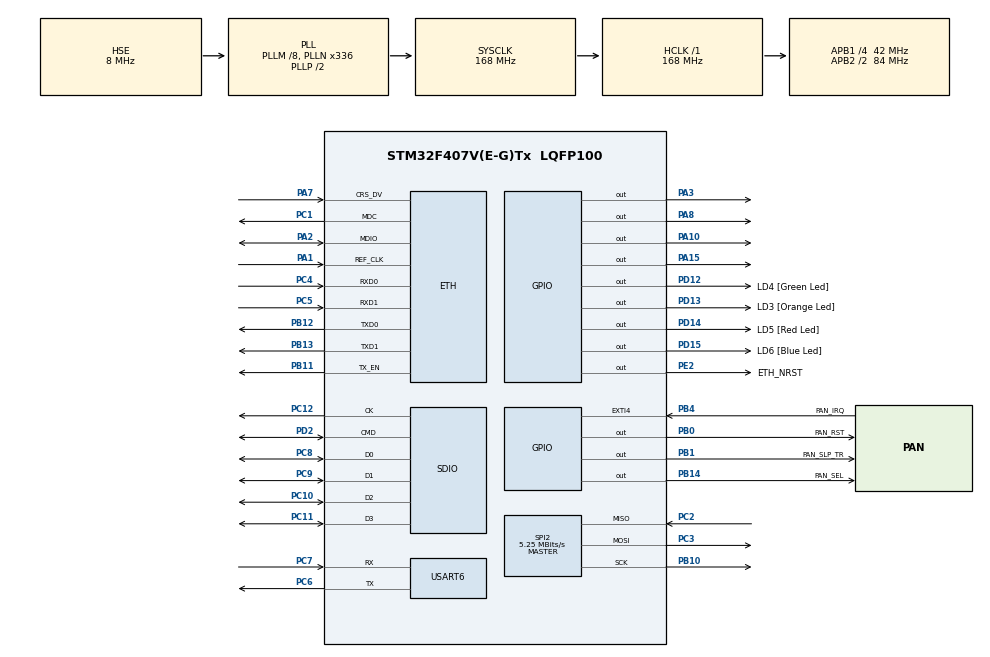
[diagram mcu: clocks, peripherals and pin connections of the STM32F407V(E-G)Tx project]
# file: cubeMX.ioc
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ETH.MediaInterface=ETH_MEDIA_INTERFACE_RMII
ETH.PhyAddress=0
FREERTOS.INCLUDE_pcTaskGetTaskName=1
FREERTOS.INCLUDE_vTaskDelayUntil=1
FREERTOS.INCLUDE_xQueueGetMutexHolder=0
FREERTOS.INCLUDE_xSemaphoreGetMutexHolder=1
FREERTOS.Tasks01=FatLwipInit,3,8192,StartDefaultTask
FREERTOS.configENABLE_BACKWARD_COMPATIBILITY=1
FREERTOS.configMINIMAL_STACK_SIZE=0x100
FREERTOS.configTIMER_TASK_PRIORITY=4
FREERTOS.configTOTAL_HEAP_SIZE=0x8000
FREERTOS.configUSE_APPLICATION_TASK_TAG=1
FREERTOS.configUSE_MALLOC_FAILED_HOOK=1
FREERTOS.configUSE_PREEMPTION=0
FREERTOS.configUSE_TICK_HOOK=1
FREERTOS.configUSE_TIMERS=1
FREERTOS.configUSE_TRACE_FACILITY=0
LWIP.GATEWAY_ADDRESS=192.168.033.001
LWIP.IP_ADDRESS=192.168.033.021
LWIP.LWIP_DHCP=0
LWIP.LWIP_IGMP=1
LWIP.MEM_SIZE=4096
LWIP.NETMASK_ADDRESS=255.255.255.000
LWIP.PBUF_POOL_BUFSIZE=1600
LWIP.SYS_LIGHTWEIGHT_PROT=1
Mcu.Family=STM32F4
Mcu.Name=STM32F407V(E-G)Tx
Mcu.Package=LQFP100
NVIC.ETH_IRQn=true\:5\:0\:false
NVIC.EXTI4_IRQn=true\:5\:0\:false
NVIC.PriorityGroup=NVIC_PRIORITYGROUP_4
PA1.Mode=RMII
PA1.Signal=ETH_REF_CLK
PA10.Signal=GPIO_Output
PA13.GPIO_Label=SWDIO
PA13.Mode=Trace-Asynchronous_SW
PA13.Signal=SYS_JTMS-SWDIO
PA14.GPIO_Label=SWCLK
PA14.Mode=Trace-Asynchronous_SW
PA14.Signal=SYS_JTCK-SWCLK
PA15.Signal=GPIO_Output
PA2.Mode=RMII
PA2.Signal=ETH_MDIO
PA3.Signal=GPIO_Output
PA7.Mode=RMII
PA7.Signal=ETH_CRS_DV
PA8.Signal=GPIO_Output
PB0.GPIO_Label=PAN_RST
PB0.GPIO_ModeDefaultOutputPP=GPIO_MODE_OUTPUT_PP
PB0.GPIO_PuPd=GPIO_NOPULL
PB0.GPIO_Speed=GPIO_SPEED_LOW
PB0.Signal=GPIO_Output
PB1.GPIO_Label=PAN_SLP_TR
PB1.GPIO_ModeDefaultOutputPP=GPIO_MODE_OUTPUT_PP
PB1.GPIO_PuPd=GPIO_NOPULL
PB1.GPIO_Speed=GPIO_SPEED_LOW
PB1.Signal=GPIO_Output
PB10.Mode=Full_Duplex_Master
PB10.Signal=SPI2_SCK
PB11.Mode=RMII
PB11.Signal=ETH_TX_EN
PB12.Mode=RMII
PB12.Signal=ETH_TXD0
PB13.Mode=RMII
PB13.Signal=ETH_TXD1
PB14.GPIO_Label=PAN_SEL
PB14.GPIO_ModeDefaultOutputPP=GPIO_MODE_OUTPUT_PP
PB14.GPIO_PuPd=GPIO_NOPULL
PB14.GPIO_Speed=GPIO_SPEED_LOW
PB14.Signal=GPIO_Output
PB3.GPIO_Label=SWO
PB3.Mode=Trace-Asynchronous_SW
PB3.Signal=SYS_JTDO-SWO
PB4.GPIO_Label=PAN_IRQ
PB4.GPIO_ModeDefaultEXTI=GPIO_MODE_IT_RISING
PB4.GPIO_PuPd=GPIO_NOPULL
PB4.Signal=GPXTI4
PC1.Mode=RMII
PC1.Signal=ETH_MDC
PC10.Mode=SD_4_bits_Wide_bus
PC10.Signal=SDIO_D2
PC11.Mode=SD_4_bits_Wide_bus
PC11.Signal=SDIO_D3
PC12.Mode=SD_4_bits_Wide_bus
PC12.Signal=SDIO_CK
PC2.Mode=Full_Duplex_Master
PC2.Signal=SPI2_MISO
PC3.Mode=Full_Duplex_Master
PC3.Signal=SPI2_MOSI
PC4.Mode=RMII
PC4.Signal=ETH_RXD0
PC5.Mode=RMII
PC5.Signal=ETH_RXD1
PC6.Mode=Asynchronous
PC6.Signal=USART6_TX
PC7.Mode=Asynchronous
PC7.Signal=USART6_RX
PC8.Mode=SD_4_bits_Wide_bus
PC8.Signal=SDIO_D0
PC9.Mode=SD_4_bits_Wide_bus
PC9.Signal=SDIO_D1
PD12.GPIO_Label=LD4 [Green Led]
PD12.GPIO_ModeDefaultOutputPP=GPIO_MODE_OUTPUT_PP
PD12.GPIO_PuPd=GPIO_NOPULL
PD12.GPIO_Speed=GPIO_SPEED_LOW
PD12.Signal=GPIO_Output
PD13.GPIO_Label=LD3 [Orange Led]
PD13.GPIO_ModeDefaultOutputPP=GPIO_MODE_OUTPUT_PP
PD13.GPIO_PuPd=GPIO_NOPULL
PD13.GPIO_Speed=GPIO_SPEED_LOW
PD13.Signal=GPIO_Output
PD14.GPIO_Label=LD5 [Red Led]
PD14.GPIO_ModeDefaultOutputPP=GPIO_MODE_OUTPUT_PP
PD14.GPIO_PuPd=GPIO_NOPULL
PD14.GPIO_Speed=GPIO_SPEED_LOW
PD14.Signal=GPIO_Output
PD15.GPIO_Label=LD6 [Blue Led]
PD15.GPIO_ModeDefaultOutputPP=GPIO_MODE_OUTPUT_PP
PD15.GPIO_PuPd=GPIO_NOPULL
PD15.GPIO_Speed=GPIO_SPEED_LOW
PD15.Signal=GPIO_Output
PD2.Mode=SD_4_bits_Wide_bus
PD2.Signal=SDIO_CMD
PE2.GPIO_Label=ETH_NRST
PE2.GPIO_ModeDefaultOutputPP=GPIO_MODE_OUTPUT_PP
PE2.GPIO_PuPd=GPIO_NOPULL
PE2.GPIO_Speed=GPIO_SPEED_LOW
PE2.Signal=GPIO_Output
PH0-OSC_IN.GPIO_Label=PH0-OSC_IN
PH0-OSC_IN.Mode=HSE-External-Oscillator
PH0-OSC_IN.Signal=RCC_OSC_IN
PH1-OSC_OUT.GPIO_Label=PH1-OSC_OUT
PH1-OSC_OUT.Mode=HSE-External-Oscillator
PH1-OSC_OUT.Signal=RCC_OSC_OUT
ProjectManager.TargetToolchain=TrueSTUDIO
RCC.AHBFreq_Value=168000000
RCC.APB1CLKDivider=RCC_HCLK_DIV4
RCC.APB1Freq_Value=42000000
RCC.APB1TimFreq_Value=84000000
RCC.APB2CLKDivider=RCC_HCLK_DIV2
RCC.APB2Freq_Value=84000000
RCC.APB2TimFreq_Value=168000000
RCC.CortexFreq_Value=168000000
RCC.HCLKFreq_Value=168000000
RCC.HSE_VALUE=8000000
RCC.HSI_VALUE=16000000
RCC.LSE_VALUE=32768
RCC.PLLM=8
RCC.PLLN=336
RCC.PLLQ=7
RCC.PLLSourceVirtual=RCC_PLLSOURCE_HSE
RCC.SYSCLKFreq_VALUE=168000000
RCC.SYSCLKSource=RCC_SYSCLKSOURCE_PLLCLK
RCC.VCOOutputFreq_Value=336000000
SDIO.BusWide=SDIO_BUS_WIDE_1B
SDIO.WideMode=SDIO_BUS_WIDE_4B
SPI2.BaudRatePrescaler=SPI_BAUDRATEPRESCALER_8
SPI2.CalculateBaudRate=5.25 MBits/s
SPI2.Mode=SPI_MODE_MASTER
TIM2.Period=0xFFFFFFFF
TIM2.Prescaler=0
TIM5.Period=0xFFFFFFFF
VP_FATFS_VS_SDIO.Mode=SDIO
VP_FREERTOS_VS_ENABLE.Mode=Enabled
VP_LWIP_VS_Enabled.Mode=Enabled
VP_RNG_VS_RNG.Mode=RNG_Activate
VP_TIM2_VS_ClockSourceINT.Mode=Internal
VP_TIM5_VS_ClockSourceINT.Mode=Internal
board=custom

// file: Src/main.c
/**
  ******************************************************************************
  * File Name          : main.c
  * Description        : Main program body
  ******************************************************************************
  *
  * COPYRIGHT(c) 2015 STMicroelectronics
  *
  * Redistribution and use in source and binary forms, with or without modification,
  * are permitted provided that the following conditions are met:
  *   1. Redistributions of source code must retain the above copyright notice,
  *      this list of conditions and the following disclaimer.
  *   2. Redistributions in binary form must reproduce the above copyright notice,
  *      this list of conditions and the following disclaimer in the documentation
  *      and/or other materials provided with the distribution.
  *   3. Neither the name of STMicroelectronics nor the names of its contributors
  *      may be used to endorse or promote products derived from this software
  *      without specific prior written permission.
  *
  * THIS SOFTWARE IS PROVIDED BY THE COPYRIGHT HOLDERS AND CONTRIBUTORS "AS IS"
  * AND ANY EXPRESS OR IMPLIED WARRANTIES, INCLUDING, BUT NOT LIMITED TO, THE
  * IMPLIED WARRANTIES OF MERCHANTABILITY AND FITNESS FOR A PARTICULAR PURPOSE ARE
  * DISCLAIMED. IN NO EVENT SHALL THE COPYRIGHT HOLDER OR CONTRIBUTORS BE LIABLE
  * FOR ANY DIRECT, INDIRECT, INCIDENTAL, SPECIAL, EXEMPLARY, OR CONSEQUENTIAL
  * DAMAGES (INCLUDING, BUT NOT LIMITED TO, PROCUREMENT OF SUBSTITUTE GOODS OR
  * SERVICES; LOSS OF USE, DATA, OR PROFITS; OR BUSINESS INTERRUPTION) HOWEVER
  * CAUSED AND ON ANY THEORY OF LIABILITY, WHETHER IN CONTRACT, STRICT LIABILITY,
  * OR TORT (INCLUDING NEGLIGENCE OR OTHERWISE) ARISING IN ANY WAY OUT OF THE USE
  * OF THIS SOFTWARE, EVEN IF ADVISED OF THE POSSIBILITY OF SUCH DAMAGE.
  *
  ******************************************************************************
  */
#include "stm32f4xx_hal.h"
#include "cmsis_os.h"
#include "fatfs.h"
#include "lwip.h"
#include "rng.h"
#include "sdio.h"
#include "spi.h"
#include "tim.h"
#include "usart.h"
#include "gpio.h"

/* USER CODE BEGIN Includes */
#include "led.h"
#include "net/netstack.h"
#include "net/queuebuf.h"
#include "rf230bb.h"
#include "dtn_network.h"

/* USER CODE END Includes */

/* USER CODE BEGIN PV */
/* Private variables ---------------------------------------------------------*/

/* USER CODE END PV */

void SystemClock_Config(void);
void MX_FREERTOS_Init(void);

/* USER CODE BEGIN PFP */
/* Private function prototypes -----------------------------------------------*/
extern bool init();

/* USER CODE END PFP */

int main(void)
{

  /* MCU Configuration----------------------------------------------------------*/

  /* Reset of all peripherals, Initializes the Flash interface and the Systick. */
  HAL_Init();

  /* Configure the system clock */
  SystemClock_Config();

  /* Initialize all configured peripherals */
  MX_GPIO_Init();
  MX_RNG_Init();
  MX_SDIO_SD_Init();
  MX_SPI2_Init();
  MX_TIM2_Init();
  MX_TIM5_Init();
  MX_USART6_UART_Init();

  /* USER CODE BEGIN 2 */
  printf("UART init done.\n");

  /* init code for FATFS */
  MX_FATFS_Init();
  printf("FATFS init done.\n");

  /* init the network stack */
  // TODO should be moved to own file
  linkaddr_t inv_id = { {(INGA_PAN_ADDR >> 8), (INGA_PAN_ADDR & 0xFF)} };
  linkaddr_set_node_addr(&inv_id);

  rf230_driver.init();
//  if (eui64_is_null(inga_cfg.eui64_addr)) {
	rf230_set_pan_addr(INGA_PAN_ID, INGA_PAN_ADDR, NULL);
//	const uint8_t ieee_addr[8] = { 0xd3, 0xbb, 0xf5, 0xff, 0xfe, 0x4c, 0x22, 0xcb };
//	rf230_set_pan_addr(0x0780, 0x05B9, ieee_addr);
//  } else {
//    rf230_set_pan_addr(inga_cfg.pan_id, inga_cfg.pan_addr, inga_cfg.eui64_addr);
//  }

  rf230_set_channel(INGA_RADIO_CHANNEL);
  rf230_set_txpower(INGA_RADIO_TX_POWER);

  /* Initialize stack protocols */
  queuebuf_init();
  dtn_network_driver.init();

  const bool successful = init();
  if (!successful) {
	printf("miniDTN user task init failed\n");
	return -1;
  }

  printf("DTN stack init done.\n");

  /* USER CODE END 2 */

  /* Call init function for freertos objects (in freertos.c) */
  MX_FREERTOS_Init();

  /* Start scheduler */
  osKernelStart();

  /* We should never get here as control is now taken by the scheduler */

  /* Infinite loop */
  /* USER CODE BEGIN WHILE */
  LED_On(LED_RED);

  while (1)
  {
  /* USER CODE END WHILE */

  }

}

/** System Clock Configuration
*/
void SystemClock_Config(void)
{

  RCC_OscInitTypeDef RCC_OscInitStruct;
  RCC_ClkInitTypeDef RCC_ClkInitStruct;

  __PWR_CLK_ENABLE();

  __HAL_PWR_VOLTAGESCALING_CONFIG(PWR_REGULATOR_VOLTAGE_SCALE1);

  RCC_OscInitStruct.OscillatorType = RCC_OSCILLATORTYPE_HSE;
  RCC_OscInitStruct.HSEState = RCC_HSE_ON;
  RCC_OscInitStruct.PLL.PLLState = RCC_PLL_ON;
  RCC_OscInitStruct.PLL.PLLSource = RCC_PLLSOURCE_HSE;
  RCC_OscInitStruct.PLL.PLLM = 8;
  RCC_OscInitStruct.PLL.PLLN = 336;
  RCC_OscInitStruct.PLL.PLLP = RCC_PLLP_DIV2;
  RCC_OscInitStruct.PLL.PLLQ = 7;
  HAL_RCC_OscConfig(&RCC_OscInitStruct);

  RCC_ClkInitStruct.ClockType = RCC_CLOCKTYPE_SYSCLK|RCC_CLOCKTYPE_PCLK1
                              |RCC_CLOCKTYPE_PCLK2;
  RCC_ClkInitStruct.SYSCLKSource = RCC_SYSCLKSOURCE_PLLCLK;
  RCC_ClkInitStruct.AHBCLKDivider = RCC_SYSCLK_DIV1;
  RCC_ClkInitStruct.APB1CLKDivider = RCC_HCLK_DIV4;
  RCC_ClkInitStruct.APB2CLKDivider = RCC_HCLK_DIV2;
  HAL_RCC_ClockConfig(&RCC_ClkInitStruct, FLASH_LATENCY_5);

  HAL_SYSTICK_Config(HAL_RCC_GetHCLKFreq()/1000);

  HAL_SYSTICK_CLKSourceConfig(SYSTICK_CLKSOURCE_HCLK);

}

/************************ (C) COPYRIGHT STMicroelectronics *****END OF FILE****/

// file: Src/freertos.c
/**
  ******************************************************************************
  * File Name          : freertos.c
  * Description        : Code for freertos applications
  ******************************************************************************
  *
  * COPYRIGHT(c) 2015 STMicroelectronics
  *
  * Redistribution and use in source and binary forms, with or without modification,
  * are permitted provided that the following conditions are met:
  *   1. Redistributions of source code must retain the above copyright notice,
  *      this list of conditions and the following disclaimer.
  *   2. Redistributions in binary form must reproduce the above copyright notice,
  *      this list of conditions and the following disclaimer in the documentation
  *      and/or other materials provided with the distribution.
  *   3. Neither the name of STMicroelectronics nor the names of its contributors
  *      may be used to endorse or promote products derived from this software
  *      without specific prior written permission.
  *
  * THIS SOFTWARE IS PROVIDED BY THE COPYRIGHT HOLDERS AND CONTRIBUTORS "AS IS"
  * AND ANY EXPRESS OR IMPLIED WARRANTIES, INCLUDING, BUT NOT LIMITED TO, THE
  * IMPLIED WARRANTIES OF MERCHANTABILITY AND FITNESS FOR A PARTICULAR PURPOSE ARE
  * DISCLAIMED. IN NO EVENT SHALL THE COPYRIGHT HOLDER OR CONTRIBUTORS BE LIABLE
  * FOR ANY DIRECT, INDIRECT, INCIDENTAL, SPECIAL, EXEMPLARY, OR CONSEQUENTIAL
  * DAMAGES (INCLUDING, BUT NOT LIMITED TO, PROCUREMENT OF SUBSTITUTE GOODS OR
  * SERVICES; LOSS OF USE, DATA, OR PROFITS; OR BUSINESS INTERRUPTION) HOWEVER
  * CAUSED AND ON ANY THEORY OF LIABILITY, WHETHER IN CONTRACT, STRICT LIABILITY,
  * OR TORT (INCLUDING NEGLIGENCE OR OTHERWISE) ARISING IN ANY WAY OUT OF THE USE
  * OF THIS SOFTWARE, EVEN IF ADVISED OF THE POSSIBILITY OF SUCH DAMAGE.
  *
  ******************************************************************************
  */

#include "FreeRTOS.h"
#include "task.h"
#include "cmsis_os.h"

/* USER CODE BEGIN Includes */
#include <stdio.h>
#include "stm32f4xx_hal.h"

#include "storage.h"
#include "debugging.h"
/* USER CODE END Includes */

osThreadId FatLwipInitHandle;

void StartDefaultTask(void const * argument);

extern void MX_FATFS_Init(void);
extern void MX_LWIP_Init(void);
void MX_FREERTOS_Init(void); /* (MISRA C 2004 rule 8.1) */

/* Hook prototypes */

/* Init FreeRTOS */

void MX_FREERTOS_Init(void) {

  /* Create the thread(s) */
  /* definition and creation of FatLwipInit */
  osThreadDef(FatLwipInit, StartDefaultTask, osPriorityRealtime, 0, 0x400);
  FatLwipInitHandle = osThreadCreate(osThread(FatLwipInit), NULL);

}

/* StartDefaultTask function */
void StartDefaultTask(void const * argument)
{
  /* init code for LWIP */
  MX_LWIP_Init();

  /* USER CODE BEGIN StartDefaultTask */
  printf("LWIP init done\n");

  vTaskDelete(NULL);
  return;

  /* USER CODE END StartDefaultTask */
}

/* USER CODE BEGIN Application */

void vApplicationStackOverflowHook(TaskHandle_t pxTask, signed char *pcTaskName)
{
  /* Run time stack overflow checking is performed if
	 configCHECK_FOR_STACK_OVERFLOW is defined to 1 or 2.  This hook
	 function is called if a stack overflow is detected. */
  taskDISABLE_INTERRUPTS();
  printf("STACK OVERFLOW in task '%s' (handle %p)\n", pcTaskName, pxTask);

  print_stack_trace();
}

void vApplicationMallocFailedHook()
{
  taskDISABLE_INTERRUPTS();
  printf("ERR: Malloc failed\n");

  print_stack_trace();
}

/* USER CODE END Application */

/************************ (C) COPYRIGHT STMicroelectronics *****END OF FILE****/
